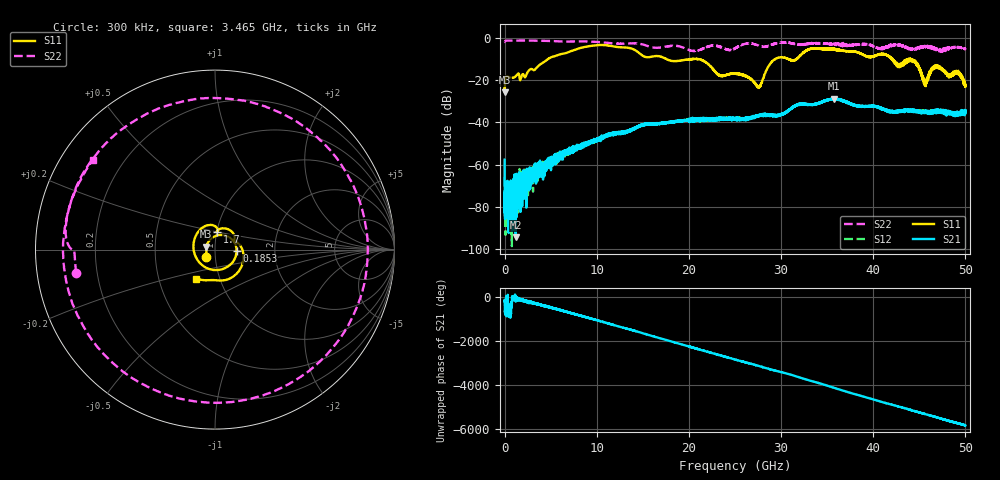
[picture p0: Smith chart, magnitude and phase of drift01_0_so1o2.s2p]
!Created with skrf (http://scikit-rf.org).
# Hz S RI R 50.0
!freq ReS11 ImS11 ReS21 ImS21 ReS12 ImS12 ReS22 ImS22
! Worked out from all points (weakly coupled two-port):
!   10001 points, 300 kHz to 50 GHz, reference 50 ohm
!   highest |S21| = -28.82 dB at 35.74 GHz (marker M1); lowest = -94.3 dB at 1.21 GHz (marker M2)
!   lowest |S11| = -25.8 dB at 5.3 MHz (marker M3), VSWR 1.11, Z = 45.3 + j1.44 ohm
!   |S11| at or under -10 dB: start of sweep to 4.764 GHz; 17.5 GHz to 29.41 GHz (11.92 GHz wide, 50.8 % of centre); 44.04 GHz to end of sweep (the widest 3 of 14)
!   |S22| runs from -6.8 to -1.4 dB; largest |S21 - S12| = 0.0037
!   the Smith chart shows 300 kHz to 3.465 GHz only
!   S11 on the Smith chart (normalised r, x): 300 kHz: 0.91, -0.07; 185.3 MHz: 1.27, -0.02; 1.7 GHz: 1.00, +0.20; 3.465 GHz: 0.77, -0.26
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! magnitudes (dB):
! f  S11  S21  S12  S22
! 300 kHz  -24.0  -57.7  -66.1  -2.1
! 5.3 MHz  -25.8  -72.6  -69.7  -2.1
! 185.3 MHz  -18.4  -70.3  -78.4  -1.4
! 1.21 GHz  -18.3  -94.3  -69.7  -1.4
! 1.7 GHz  -20.1  -66.0  -69.5  -1.4
! 3.465 GHz  -14.3  -64.3  -64.5  -1.5
! 8.335 GHz  -4.8  -52.3  -51.2  -1.8
! 16.67 GHz  -8.7  -40.7  -40.7  -4.8
! 21.16 GHz  -10.3  -38.8  -38.4  -5.9
! 25 GHz  -17.1  -38.4  -38.4  -5.2
! 27.59 GHz  -23.6  -36.9  -36.9  -3.9
! 29.27 GHz  -10.4  -36.8  -36.9  -2.9
! 31.45 GHz  -10.8  -32.5  -32.2  -3.0
! 33.34 GHz  -5.2  -31.6  -31.7  -2.6
! 35.74 GHz  -5.2  -28.8  -29.1  -2.8
! 41.67 GHz  -9.0  -35.0  -34.9  -4.3
! 42.74 GHz  -12.5  -35.0  -34.8  -3.2
! 44.4 GHz  -11.2  -34.4  -34.7  -5.3
! 45.63 GHz  -21.4  -35.1  -35.3  -4.3
! 46.84 GHz  -13.0  -34.8  -35.3  -5.7
! 49.21 GHz  -16.2  -35.5  -36.1  -4.4
! 50 GHz  -22.5  -34.3  -35.2  -5.4
